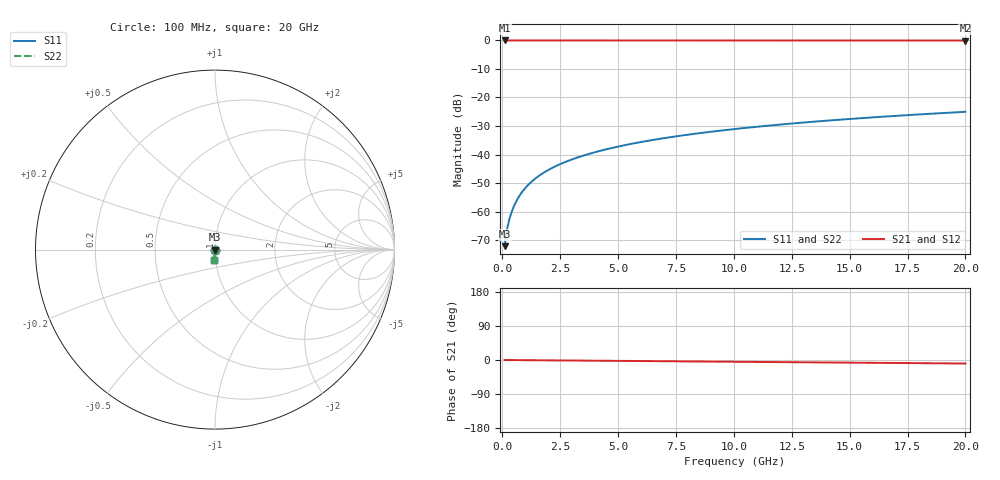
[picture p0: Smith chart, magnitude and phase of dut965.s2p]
! Touchstone file exported from HFSS 2026.1.0
!  File:  C:/ffzhzh/LocalFiles/Ansys_Project_Files/temp_train_TSV_965_1783187591_51560.aedt
!  Generated:  01:54:45 AM Jul  5, 2026
!  Design:  TSV
!  Project:  temp_train_TSV_965_1783187591_51560
! Variables:
!  h_bsmrdl = 2um
!  h_ox = 20um
!  h_rdl = 5um
!  h_sub = 91.12um
!  h_tmrdl = 5um
!  h_tsv = 91.12um
!  h_via = 3um
!  l_bsmrdl = 300um
!  l_sub = 428.18um
!  l_tmrdl = 200um
!  m_sub = 200um
!  pitch = 41.44um
!  r_tsv = 14.09um
!  s_tmrdl = 10um
!  w_bsmrdl = 18um
!  w_sub = 500um
!  w_tmrdl = 12um
!  x_tsv_center1 = 206um
!  x_tsv_center2 = 524um
!  x_tsv_center3 = 736um
!  x_tsv_center4 = 1054um
!  x_tsv_center5 = 1266um
!  x_tsv_center6 = 1584um
# GHz S MA R 50.000000
! Terminal data exported
! Port[1] = TSV1_1_T1
! Port[2] = TSV1_1_T2
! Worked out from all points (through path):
!   200 points, 100 MHz to 20 GHz, reference 50 ohm
!   highest |S21| = 0.00 dB at 100 MHz (marker M1); lowest = 0.0 dB at 20 GHz (marker M2)
!   group delay of S21, straight-line fit = 1.28 ps
!   lowest |S11| = -72.1 dB at 100 MHz (marker M3), VSWR 1.00, Z = 50 - j0.023 ohm
!   |S11| at or under -10 dB: start of sweep to end of sweep
!   |S22| runs from -72.1 to -25.0 dB; largest |S21 - S12| = 3e-15
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0.1  0.0002474 -68.5  0.9999 -0.0  0.9999 -0.0  0.0002474 -68.5
! Gamma 0 0 0 0
! Port Impedance 50 0 50 0
0.2  0.0004778 -76.9  0.9999 -0.1  0.9999 -0.1  0.0004778 -76.9
0.3  0.0007214 -79.4  0.9999 -0.1  0.9999 -0.1  0.0007214 -79.4
0.4  0.0009752 -80.6  0.9998 -0.2  0.9998 -0.2  0.0009752 -80.6
0.5  0.001237 -81.3  0.9998 -0.2  0.9998 -0.2  0.001237 -81.3
0.7  0.001779 -82.4  0.9998 -0.3  0.9998 -0.3  0.001779 -82.4
0.8  0.002054 -82.9  0.9997 -0.4  0.9997 -0.4  0.002054 -82.9
1  0.002609 -83.8  0.9997 -0.5  0.9997 -0.5  0.002609 -83.8
1.2  0.003167 -84.6  0.9997 -0.6  0.9997 -0.6  0.003167 -84.6
1.4  0.003725 -85.2  0.9996 -0.7  0.9996 -0.7  0.003725 -85.2
1.7  0.004561 -86.0  0.9996 -0.8  0.9996 -0.8  0.004561 -86.0
2  0.005397 -86.6  0.9996 -0.9  0.9996 -0.9  0.005397 -86.6
2.7  0.007347 -87.7  0.9995 -1.3  0.9995 -1.3  0.007347 -87.7
3.5  0.009579 -88.6  0.9994 -1.6  0.9994 -1.6  0.009579 -88.6
4.2  0.01154 -89.2  0.9994 -2.0  0.9994 -2.0  0.01154 -89.2
5  0.01378 -89.8  0.9993 -2.3  0.9993 -2.3  0.01378 -89.8
6.8  0.01885 -91.0  0.9991 -3.2  0.9991 -3.2  0.01885 -91.0
8.3  0.02309 -91.9  0.9989 -3.9  0.9989 -3.9  0.02309 -91.9
10.1  0.02818 -92.9  0.9987 -4.7  0.9987 -4.7  0.02818 -92.9
13.4  0.0375 -94.7  0.9983 -6.2  0.9983 -6.2  0.0375 -94.7
16.7  0.04681 -96.3  0.9978 -7.7  0.9978 -7.7  0.04681 -96.3
20  0.05611 -98.0  0.9972 -9.3  0.9972 -9.3  0.05611 -98.0
